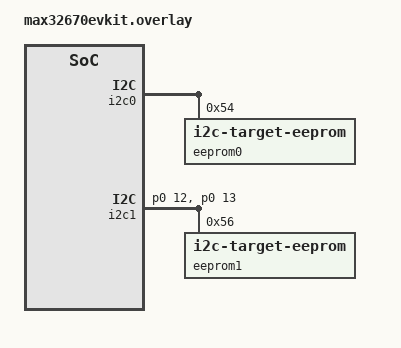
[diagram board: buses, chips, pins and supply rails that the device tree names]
/*
 * Copyright (c) 2024 Analog Devices, Inc.
 *
 * SPDX-License-Identifier: Apache-2.0
 */

&i2c0 {
	eeprom0: eeprom@54 {
		compatible = "zephyr,i2c-target-eeprom";
		reg = <0x54>;
		address-width = <16>;
		size = <1024>;
	};
};

&i2c1 {
	status = "okay";
	pinctrl-0 = <&i2c1_scl_p0_12 &i2c1_sda_p0_13>;
	pinctrl-names = "default";

	eeprom1: eeprom@56 {
		compatible = "zephyr,i2c-target-eeprom";
		reg = <0x56>;
		address-width = <16>;
		size = <1024>;
	};
};
